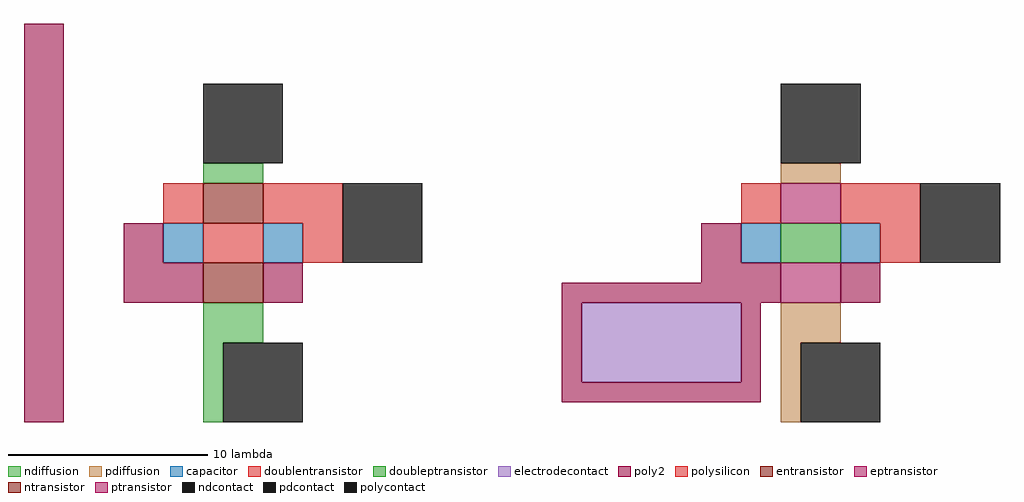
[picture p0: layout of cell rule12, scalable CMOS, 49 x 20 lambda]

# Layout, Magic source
magic
tech scmos
<< polysilicon >>
rect 14 10 16 12
rect 19 10 23 12
rect 21 8 23 10
rect 43 10 45 12
rect 48 10 52 12
rect 50 8 52 10
<< poly2 >>
rect 7 0 9 20
rect 12 8 14 10
rect 41 8 43 10
rect 12 6 16 8
rect 19 6 21 8
rect 41 7 45 8
rect 34 6 45 7
rect 48 6 50 8
rect 34 2 35 6
rect 43 2 44 6
rect 34 1 44 2
<< capacitor >>
rect 14 8 16 10
rect 19 8 21 10
rect 43 8 45 10
rect 48 8 50 10
<< ndiffusion >>
rect 16 12 19 13
rect 16 4 19 6
rect 16 0 17 4
<< pdiffusion >>
rect 45 12 48 13
rect 45 4 48 6
rect 45 0 46 4
<< ntransistor >>
rect 16 10 19 12
<< ptransistor >>
rect 45 10 48 12
<< entransistor >>
rect 16 6 19 8
<< eptransistor >>
rect 45 6 48 8
<< doublentransistor >>
rect 16 8 19 10
<< doubleptransistor >>
rect 45 8 48 10
<< polycontact >>
rect 23 8 27 12
rect 52 8 56 12
<< ndcontact >>
rect 16 13 20 17
rect 17 0 21 4
<< pdcontact >>
rect 45 13 49 17
rect 46 0 50 4
<< electrodecontact >>
rect 35 2 43 6
<< end >>
